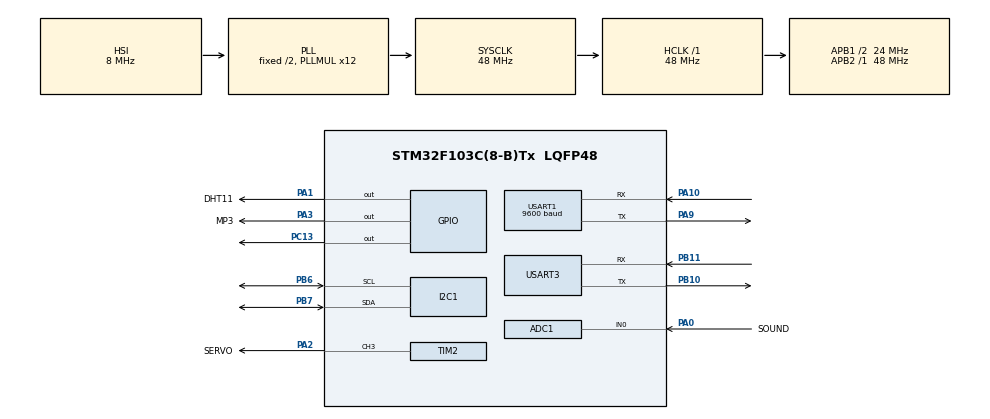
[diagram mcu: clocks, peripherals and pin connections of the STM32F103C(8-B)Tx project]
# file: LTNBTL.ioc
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ADC1.Channel-4\#ChannelRegularConversion=ADC_CHANNEL_0
ADC1.ContinuousConvMode=ENABLE
ADC1.NbrOfConversionFlag=1
ADC1.Rank-4\#ChannelRegularConversion=1
ADC1.SamplingTime-4\#ChannelRegularConversion=ADC_SAMPLETIME_1CYCLE_5
ADC1.master=1
FREERTOS.Queues01=queue_temperature,10,uint32_t,0,Dynamic,NULL,NULL;queue_humidity,10,uint32_t,0,Dynamic,NULL,NULL;queue_sound,1,uint32_t,0,Dynamic,NULL,NULL;queue_servo,10,uint32_t,0,Dynamic,NULL,NULL
FREERTOS.Tasks01=LCD,-1,128,LCD_Task,Default,NULL,Dynamic,NULL,NULL;DHT,0,128,DHT_Task,Default,NULL,Dynamic,NULL,NULL;ServoMP3,-1,64,ServoMP3_Task,Default,NULL,Dynamic,NULL,NULL;Sound,0,64,Sound_Task,Default,NULL,Dynamic,NULL,NULL
FREERTOS.configMINIMAL_STACK_SIZE=64
FREERTOS.configUSE_NEWLIB_REENTRANT=1
Mcu.Family=STM32F1
Mcu.Name=STM32F103C(8-B)Tx
Mcu.Package=LQFP48
NVIC.PriorityGroup=NVIC_PRIORITYGROUP_4
NVIC.TIM1_UP_IRQn=true\:15\:0\:false\:false\:true\:false\:false\:true\:true
NVIC.TimeBase=TIM1_UP_IRQn
NVIC.TimeBaseIP=TIM1
PA0-WKUP.GPIO_Label=SOUND
PA0-WKUP.Signal=ADCx_IN0
PA1.GPIO_Label=DHT11
PA1.PinState=GPIO_PIN_SET
PA1.Signal=GPIO_Output
PA10.Mode=Asynchronous
PA10.Signal=USART1_RX
PA13.Mode=Serial_Wire
PA13.Signal=SYS_JTMS-SWDIO
PA14.Mode=Serial_Wire
PA14.Signal=SYS_JTCK-SWCLK
PA2.GPIO_Label=SERVO
PA2.Signal=S_TIM2_CH3
PA3.GPIO_Label=MP3
PA3.PinState=GPIO_PIN_SET
PA3.Signal=GPIO_Output
PA9.Mode=Asynchronous
PA9.Signal=USART1_TX
PB10.Mode=Asynchronous
PB10.Signal=USART3_TX
PB11.Mode=Asynchronous
PB11.Signal=USART3_RX
PB6.Mode=I2C
PB6.Signal=I2C1_SCL
PB7.Mode=I2C
PB7.Signal=I2C1_SDA
PC13-TAMPER-RTC.Signal=GPIO_Output
PD0-OSC_IN.Mode=HSE-External-Oscillator
PD0-OSC_IN.Signal=RCC_OSC_IN
PD1-OSC_OUT.Mode=HSE-External-Oscillator
PD1-OSC_OUT.Signal=RCC_OSC_OUT
ProjectManager.HeapSize=0x200
ProjectManager.StackSize=0x400
ProjectManager.TargetToolchain=STM32CubeIDE
RCC.ADCPresc=RCC_ADCPCLK2_DIV4
RCC.AHBFreq_Value=48000000
RCC.APB1CLKDivider=RCC_HCLK_DIV2
RCC.APB1Freq_Value=24000000
RCC.APB1TimFreq_Value=48000000
RCC.APB2Freq_Value=48000000
RCC.APB2TimFreq_Value=48000000
RCC.HCLKFreq_Value=48000000
RCC.PLLMUL=RCC_PLL_MUL12
RCC.SYSCLKFreq_VALUE=48000000
RCC.SYSCLKSource=RCC_SYSCLKSOURCE_PLLCLK
RCC.USBFreq_Value=48000000
SH.ADCx_IN0.0=ADC1_IN0,IN0
SH.S_TIM2_CH3.0=TIM2_CH3,PWM Generation3 CH3
TIM2.Channel-PWM\ Generation3\ CH3=TIM_CHANNEL_3
TIM2.Period=999
TIM2.Prescaler=959
USART1.BaudRate=9600
USART1.VirtualMode=VM_ASYNC
USART3.VirtualMode=VM_ASYNC
VP_FREERTOS_VS_CMSIS_V1.Mode=CMSIS_V1
VP_SYS_VS_tim1.Mode=TIM1
VP_TIM2_VS_ClockSourceINT.Mode=Internal
board=custom

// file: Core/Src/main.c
/* USER CODE BEGIN Header */
/**
  ******************************************************************************
  * @file           : main.c
  * @brief          : Main program body
  ******************************************************************************
  * @attention
  *
  * Copyright (c) 2024 STMicroelectronics.
  * All rights reserved.
  *
  * This software is licensed under terms that can be found in the LICENSE file
  * in the root directory of this software component.
  * If no LICENSE file comes with this software, it is provided AS-IS.
  *
  ******************************************************************************
  */
/* USER CODE END Header */
#include "main.h"
#include "cmsis_os.h"

/* USER CODE BEGIN Includes */
#include <stdio.h>
#include "i2c-lcd.h"
#include "DHT.h"
/* USER CODE END Includes */

ADC_HandleTypeDef hadc1;

I2C_HandleTypeDef hi2c1;

TIM_HandleTypeDef htim2;

UART_HandleTypeDef huart1;
UART_HandleTypeDef huart3;

osThreadId LCDHandle;
osThreadId DHTHandle;
osThreadId ServoMP3Handle;
osThreadId SoundHandle;
osMessageQId queue_temperatureHandle;
osMessageQId queue_humidityHandle;
osMessageQId queue_soundHandle;
osMessageQId queue_servoHandle;
/* USER CODE BEGIN PV */
DHT_DataTypedef DHT11_Data;
char cc1[] = {0x06,0x09,0x09,0x06,0x00,0x00,0x00,0x00};
uint8_t esp[6];
/* USER CODE END PV */

void SystemClock_Config(void);
static void MX_GPIO_Init(void);
static void MX_I2C1_Init(void);
static void MX_ADC1_Init(void);
static void MX_TIM2_Init(void);
static void MX_USART1_UART_Init(void);
static void MX_USART3_UART_Init(void);
void LCD_Task(void const * argument);
void DHT_Task(void const * argument);
void ServoMP3_Task(void const * argument);
void Sound_Task(void const * argument);

int main(void)
{

  /* MCU Configuration--------------------------------------------------------*/

  /* Reset of all peripherals, Initializes the Flash interface and the Systick. */
  HAL_Init();

  /* Configure the system clock */
  SystemClock_Config();

  /* Initialize all configured peripherals */
  MX_GPIO_Init();
  MX_I2C1_Init();
  MX_ADC1_Init();
  MX_TIM2_Init();
  MX_USART1_UART_Init();
  MX_USART3_UART_Init();
  /* USER CODE BEGIN 2 */
  HAL_TIM_PWM_Start(&htim2, TIM_CHANNEL_3);
  /* USER CODE END 2 */

  /* Create the queue(s) */
  /* definition and creation of queue_temperature */
  osMessageQDef(queue_temperature, 10, uint32_t);
  queue_temperatureHandle = osMessageCreate(osMessageQ(queue_temperature), NULL);

  /* definition and creation of queue_humidity */
  osMessageQDef(queue_humidity, 10, uint32_t);
  queue_humidityHandle = osMessageCreate(osMessageQ(queue_humidity), NULL);

  /* definition and creation of queue_sound */
  osMessageQDef(queue_sound, 1, uint32_t);
  queue_soundHandle = osMessageCreate(osMessageQ(queue_sound), NULL);

  /* definition and creation of queue_servo */
  osMessageQDef(queue_servo, 10, uint32_t);
  queue_servoHandle = osMessageCreate(osMessageQ(queue_servo), NULL);

  /* Create the thread(s) */
  /* definition and creation of LCD */
  osThreadDef(LCD, LCD_Task, osPriorityBelowNormal, 0, 128);
  LCDHandle = osThreadCreate(osThread(LCD), NULL);

  /* definition and creation of DHT */
  osThreadDef(DHT, DHT_Task, osPriorityNormal, 0, 128);
  DHTHandle = osThreadCreate(osThread(DHT), NULL);

  /* definition and creation of ServoMP3 */
  osThreadDef(ServoMP3, ServoMP3_Task, osPriorityBelowNormal, 0, 64);
  ServoMP3Handle = osThreadCreate(osThread(ServoMP3), NULL);

  /* definition and creation of Sound */
  osThreadDef(Sound, Sound_Task, osPriorityNormal, 0, 64);
  SoundHandle = osThreadCreate(osThread(Sound), NULL);

  /* Start scheduler */
  osKernelStart();

  /* We should never get here as control is now taken by the scheduler */
  /* Infinite loop */
  while (1)
  {

  }
}

void SystemClock_Config(void)
{
  RCC_OscInitTypeDef RCC_OscInitStruct = {0};
  RCC_ClkInitTypeDef RCC_ClkInitStruct = {0};
  RCC_PeriphCLKInitTypeDef PeriphClkInit = {0};

  /** Initializes the RCC Oscillators according to the specified parameters
  * in the RCC_OscInitTypeDef structure.
  */
  RCC_OscInitStruct.OscillatorType = RCC_OSCILLATORTYPE_HSI;
  RCC_OscInitStruct.HSIState = RCC_HSI_ON;
  RCC_OscInitStruct.HSICalibrationValue = RCC_HSICALIBRATION_DEFAULT;
  RCC_OscInitStruct.PLL.PLLState = RCC_PLL_ON;
  RCC_OscInitStruct.PLL.PLLSource = RCC_PLLSOURCE_HSI_DIV2;
  RCC_OscInitStruct.PLL.PLLMUL = RCC_PLL_MUL12;
  if (HAL_RCC_OscConfig(&RCC_OscInitStruct) != HAL_OK)
  {
    Error_Handler();
  }

  /** Initializes the CPU, AHB and APB buses clocks
  */
  RCC_ClkInitStruct.ClockType = RCC_CLOCKTYPE_HCLK|RCC_CLOCKTYPE_SYSCLK
                              |RCC_CLOCKTYPE_PCLK1|RCC_CLOCKTYPE_PCLK2;
  RCC_ClkInitStruct.SYSCLKSource = RCC_SYSCLKSOURCE_PLLCLK;
  RCC_ClkInitStruct.AHBCLKDivider = RCC_SYSCLK_DIV1;
  RCC_ClkInitStruct.APB1CLKDivider = RCC_HCLK_DIV2;
  RCC_ClkInitStruct.APB2CLKDivider = RCC_HCLK_DIV1;

  if (HAL_RCC_ClockConfig(&RCC_ClkInitStruct, FLASH_LATENCY_1) != HAL_OK)
  {
    Error_Handler();
  }
  PeriphClkInit.PeriphClockSelection = RCC_PERIPHCLK_ADC;
  PeriphClkInit.AdcClockSelection = RCC_ADCPCLK2_DIV4;
  if (HAL_RCCEx_PeriphCLKConfig(&PeriphClkInit) != HAL_OK)
  {
    Error_Handler();
  }
}

static void MX_ADC1_Init(void)
{

  ADC_ChannelConfTypeDef sConfig = {0};

  /** Common config
  */
  hadc1.Instance = ADC1;
  hadc1.Init.ScanConvMode = ADC_SCAN_DISABLE;
  hadc1.Init.ContinuousConvMode = ENABLE;
  hadc1.Init.DiscontinuousConvMode = DISABLE;
  hadc1.Init.ExternalTrigConv = ADC_SOFTWARE_START;
  hadc1.Init.DataAlign = ADC_DATAALIGN_RIGHT;
  hadc1.Init.NbrOfConversion = 1;
  if (HAL_ADC_Init(&hadc1) != HAL_OK)
  {
    Error_Handler();
  }

  /** Configure Regular Channel
  */
  sConfig.Channel = ADC_CHANNEL_0;
  sConfig.Rank = ADC_REGULAR_RANK_1;
  sConfig.SamplingTime = ADC_SAMPLETIME_1CYCLE_5;
  if (HAL_ADC_ConfigChannel(&hadc1, &sConfig) != HAL_OK)
  {
    Error_Handler();
  }

}

static void MX_I2C1_Init(void)
{

  hi2c1.Instance = I2C1;
  hi2c1.Init.ClockSpeed = 100000;
  hi2c1.Init.DutyCycle = I2C_DUTYCYCLE_2;
  hi2c1.Init.OwnAddress1 = 0;
  hi2c1.Init.AddressingMode = I2C_ADDRESSINGMODE_7BIT;
  hi2c1.Init.DualAddressMode = I2C_DUALADDRESS_DISABLE;
  hi2c1.Init.OwnAddress2 = 0;
  hi2c1.Init.GeneralCallMode = I2C_GENERALCALL_DISABLE;
  hi2c1.Init.NoStretchMode = I2C_NOSTRETCH_DISABLE;
  if (HAL_I2C_Init(&hi2c1) != HAL_OK)
  {
    Error_Handler();
  }

}

static void MX_TIM2_Init(void)
{

  TIM_ClockConfigTypeDef sClockSourceConfig = {0};
  TIM_MasterConfigTypeDef sMasterConfig = {0};
  TIM_OC_InitTypeDef sConfigOC = {0};

  htim2.Instance = TIM2;
  htim2.Init.Prescaler = 959;
  htim2.Init.CounterMode = TIM_COUNTERMODE_UP;
  htim2.Init.Period = 999;
  htim2.Init.ClockDivision = TIM_CLOCKDIVISION_DIV1;
  htim2.Init.AutoReloadPreload = TIM_AUTORELOAD_PRELOAD_DISABLE;
  if (HAL_TIM_Base_Init(&htim2) != HAL_OK)
  {
    Error_Handler();
  }
  sClockSourceConfig.ClockSource = TIM_CLOCKSOURCE_INTERNAL;
  if (HAL_TIM_ConfigClockSource(&htim2, &sClockSourceConfig) != HAL_OK)
  {
    Error_Handler();
  }
  if (HAL_TIM_PWM_Init(&htim2) != HAL_OK)
  {
    Error_Handler();
  }
  sMasterConfig.MasterOutputTrigger = TIM_TRGO_RESET;
  sMasterConfig.MasterSlaveMode = TIM_MASTERSLAVEMODE_DISABLE;
  if (HAL_TIMEx_MasterConfigSynchronization(&htim2, &sMasterConfig) != HAL_OK)
  {
    Error_Handler();
  }
  sConfigOC.OCMode = TIM_OCMODE_PWM1;
  sConfigOC.Pulse = 0;
  sConfigOC.OCPolarity = TIM_OCPOLARITY_HIGH;
  sConfigOC.OCFastMode = TIM_OCFAST_DISABLE;
  if (HAL_TIM_PWM_ConfigChannel(&htim2, &sConfigOC, TIM_CHANNEL_3) != HAL_OK)
  {
    Error_Handler();
  }
  HAL_TIM_MspPostInit(&htim2);

}

static void MX_USART1_UART_Init(void)
{

  huart1.Instance = USART1;
  huart1.Init.BaudRate = 9600;
  huart1.Init.WordLength = UART_WORDLENGTH_8B;
  huart1.Init.StopBits = UART_STOPBITS_1;
  huart1.Init.Parity = UART_PARITY_NONE;
  huart1.Init.Mode = UART_MODE_TX_RX;
  huart1.Init.HwFlowCtl = UART_HWCONTROL_NONE;
  huart1.Init.OverSampling = UART_OVERSAMPLING_16;
  if (HAL_UART_Init(&huart1) != HAL_OK)
  {
    Error_Handler();
  }

}

static void MX_USART3_UART_Init(void)
{

  huart3.Instance = USART3;
  huart3.Init.BaudRate = 115200;
  huart3.Init.WordLength = UART_WORDLENGTH_8B;
  huart3.Init.StopBits = UART_STOPBITS_1;
  huart3.Init.Parity = UART_PARITY_NONE;
  huart3.Init.Mode = UART_MODE_TX_RX;
  huart3.Init.HwFlowCtl = UART_HWCONTROL_NONE;
  huart3.Init.OverSampling = UART_OVERSAMPLING_16;
  if (HAL_UART_Init(&huart3) != HAL_OK)
  {
    Error_Handler();
  }

}

static void MX_GPIO_Init(void)
{
  GPIO_InitTypeDef GPIO_InitStruct = {0};

  /* GPIO Ports Clock Enable */
  __HAL_RCC_GPIOC_CLK_ENABLE();
  __HAL_RCC_GPIOD_CLK_ENABLE();
  __HAL_RCC_GPIOA_CLK_ENABLE();
  __HAL_RCC_GPIOB_CLK_ENABLE();

  /*Configure GPIO pin Output Level */
  HAL_GPIO_WritePin(GPIOC, GPIO_PIN_13, GPIO_PIN_RESET);

  /*Configure GPIO pin Output Level */
  HAL_GPIO_WritePin(GPIOA, DHT11_Pin|MP3_Pin, GPIO_PIN_SET);

  /*Configure GPIO pin : PC13 */
  GPIO_InitStruct.Pin = GPIO_PIN_13;
  GPIO_InitStruct.Mode = GPIO_MODE_OUTPUT_PP;
  GPIO_InitStruct.Pull = GPIO_NOPULL;
  GPIO_InitStruct.Speed = GPIO_SPEED_FREQ_LOW;
  HAL_GPIO_Init(GPIOC, &GPIO_InitStruct);

  /*Configure GPIO pins : DHT11_Pin MP3_Pin */
  GPIO_InitStruct.Pin = DHT11_Pin|MP3_Pin;
  GPIO_InitStruct.Mode = GPIO_MODE_OUTPUT_PP;
  GPIO_InitStruct.Pull = GPIO_NOPULL;
  GPIO_InitStruct.Speed = GPIO_SPEED_FREQ_LOW;
  HAL_GPIO_Init(GPIOA, &GPIO_InitStruct);

}

void LCD_Task(void const * argument)
{
  /* USER CODE BEGIN 5 */
	char tempVal[10];
	char humiVal[10];
	char souVal[10];

	osEvent evt;

	uint32_t temperature, humidity,sound;

	lcd_init();
	lcd_send_cmd(0x40);
	for (int i=0;i<8;i++)
	{
		lcd_send_data(cc1[i]);
	}

	lcd_goto_XY(1,0);
	lcd_send_string("DA:  %RH");

	lcd_goto_XY(2,0);
	lcd_send_string("T:    C");

	lcd_goto_XY(2,5);
	lcd_send_data(0);

	lcd_goto_XY(1,9);
	lcd_send_string("AT:");

	osDelay(10);
  /* Infinite loop */
  for(;;)
  {
	  	  evt = osMessageGet(queue_temperatureHandle, 100);

		  if(evt.status == osEventMessage)
		  {
			  temperature = evt.value.v;
			  sprintf(tempVal, "%ld", temperature);
			  //HAL_UART_Transmit(&huart3, (uint8_t *)tempVal, sizeof(tempVal), 1000);
		  }
		  evt = osMessageGet(queue_humidityHandle, 100);
		  if(evt.status == osEventMessage)
		  {
			  humidity = evt.value.v;
			  sprintf(humiVal, "%ld", humidity);
			 // HAL_UART_Transmit(&huart3, (uint8_t *)humiVal, sizeof(tempVal), 1000);
		  }
		  evt = osMessageGet(queue_soundHandle, 100);
		  if(evt.status == osEventMessage)
		  {
			  sound = evt.value.v;
			  sprintf(souVal, "%ld", sound);

		  }

		  esp[0] = tempVal[0];
		  esp[1] = tempVal[1];
		  esp[2] = ',';
		  esp[3] = humiVal[0];
		  esp[4] = humiVal[1];
		  esp[5] = '\n';
		  HAL_UART_Transmit(&huart3, esp, sizeof(esp), 1000);
		  lcd_goto_XY(2,3);
		  lcd_send_string(tempVal);
		  lcd_goto_XY(1,3);
		  lcd_send_string(humiVal);
		  lcd_goto_XY(1,12);
		  lcd_send_string(souVal);

		  osDelay(1000);
  }
  /* USER CODE END 5 */
}

void DHT_Task(void const * argument)
{
  /* USER CODE BEGIN DHT_Task */
	uint32_t Temperature;
	uint32_t Humidity;
  /* Infinite loop */
  for(;;)
  {
	  DHT_GetData(&DHT11_Data);
	  Temperature = DHT11_Data.Temperature;
	  Humidity = DHT11_Data.Humidity;
	  osMessagePut(queue_temperatureHandle, Temperature, 100);
	  osMessagePut(queue_humidityHandle, Humidity, 100);

	  osDelay(1000);
  }
  /* USER CODE END DHT_Task */
}

void ServoMP3_Task(void const * argument)
{
  /* USER CODE BEGIN ServoMP3_Task */
	uint32_t SoundMP3;
	uint8_t sendBuffer[10] = {0x7E, 0xFF, 0x06, 0x0E, 0x00, 0x00, 0x00, 0xFF, 0xFF, 0xEF};
	osEvent evt;
  /* Infinite loop */
	for(;;)
	{
		  uint16_t checksum = 0;
		  evt = osMessageGet(queue_servoHandle, osWaitForever);
		  HAL_GPIO_TogglePin(GPIOC, GPIO_PIN_13);
		  if(evt.status == osEventMessage)
		  {
			  SoundMP3 = evt.value.v;
			  if(SoundMP3 > 300)
			  {
				   HAL_GPIO_WritePin(GPIOA, GPIO_PIN_3, RESET);
				   HAL_Delay(50);
				   HAL_GPIO_WritePin(GPIOA, GPIO_PIN_3, SET);

				   for(int i = 0;i<8;i++)
				   {
					   __HAL_TIM_SET_COMPARE(&htim2,TIM_CHANNEL_3,120);
					   HAL_Delay(1000);
					   __HAL_TIM_SET_COMPARE(&htim2,TIM_CHANNEL_3,30);
					   HAL_Delay(1000);
				   }

				   for (int i = 1; i < 7; i++)
				   {
					 checksum += sendBuffer[i];
				   }
				   checksum = -checksum;

				   // Thêm checksum vào buffer
				   sendBuffer[7] = (uint8_t)(checksum >> 8);
				   sendBuffer[8] = (uint8_t)(checksum & 0xFF);
				   HAL_UART_Transmit(&huart1, sendBuffer, sizeof(sendBuffer), HAL_MAX_DELAY);
				   HAL_Delay(5000);
			  }

		  }

		osDelay(1000);
    }
  /* USER CODE END ServoMP3_Task */
}

void Sound_Task(void const * argument)
{
  /* USER CODE BEGIN Sound_Task */
	uint32_t amthanh;

  /* Infinite loop */
  for(;;)
  {
	  HAL_ADC_Start(&hadc1);
	  HAL_ADC_PollForConversion(&hadc1, 1000);
	  amthanh = HAL_ADC_GetValue(&hadc1);
	  HAL_ADC_Stop(&hadc1);

//

	  osMessagePut(queue_servoHandle, amthanh, osWaitForever);

	  osMessagePut(queue_soundHandle, amthanh, 100);
      osDelay(1000);
  }
  /* USER CODE END Sound_Task */
}

void HAL_TIM_PeriodElapsedCallback(TIM_HandleTypeDef *htim)
{
  if (htim->Instance == TIM1) {
    HAL_IncTick();
  }
}

void Error_Handler(void)
{
  __disable_irq();
  while (1)
  {
  }
}
